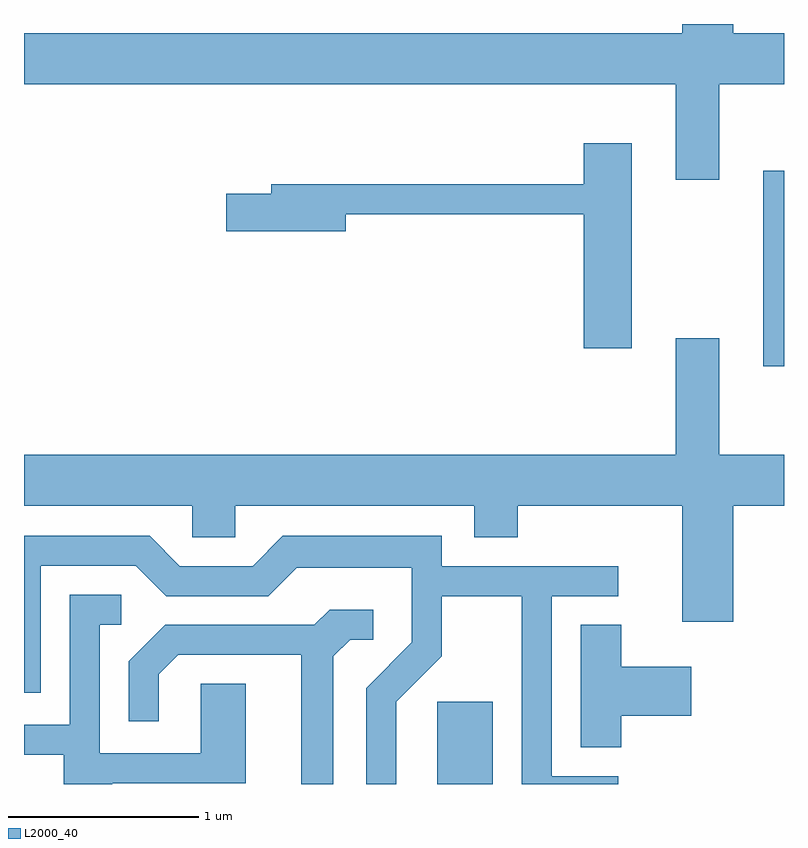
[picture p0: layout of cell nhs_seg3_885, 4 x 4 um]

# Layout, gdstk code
import gdstk
lib = gdstk.Library(unit=1e-6, precision=1e-09)
def R(c, l, rs):  # rectangles x0, y0, x1, y1
    for r in rs: c.add(gdstk.rectangle(r[:2], r[2:], *l))
def P(c, l, *ps):  # polygons
    for p in ps: c.add(gdstk.Polygon(p, *l))
L2000_40 = (2000, 40)

nhs_seg3_885 = lib.new_cell('nhs_seg3_885')
R(nhs_seg3_885, L2000_40, [(213.786,1117.892,214.079,1118.324), (215.501,1120.091,215.611,1121.119)])
P(nhs_seg3_885, L2000_40, [(215.269,1121.576),(215.611,1121.576),(215.611,1121.844),(215.344,1121.844),(215.344,1121.892),(215.076,1121.892),(215.076,1121.844),(211.611,1121.844),(211.611,1121.576),(215.041,1121.576),(215.041,1121.071),(215.269,1121.071)],
  [(214.809,1121.264),(214.556,1121.264),(214.556,1121.049),(212.911,1121.049),(212.911,1120.999),(212.676,1120.999),(212.676,1120.801),(213.304,1120.801),(213.304,1120.891),(214.556,1120.891),(214.556,1120.186),(214.809,1120.186)],
  [(215.344,1119.356),(215.611,1119.356),(215.611,1119.624),(215.269,1119.624),(215.269,1120.239),(215.041,1120.239),(215.041,1119.624),(211.611,1119.624),(211.611,1119.356),(212.496,1119.356),(212.496,1119.191),(212.724,1119.191),(212.724,1119.356),(213.981,1119.356),(213.981,1119.191),(214.209,1119.191),(214.209,1119.356),(215.076,1119.356),(215.076,1118.746),(215.344,1118.746)],
  [(213.569,1118.324),(213.809,1118.564),(213.809,1118.881),(214.231,1118.881),(214.231,1117.892),(214.738,1117.892),(214.738,1117.934),(214.389,1117.934),(214.389,1118.881),(214.738,1118.881),(214.738,1119.039),(213.809,1119.039),(213.809,1119.199),(212.974,1119.199),(212.814,1119.039),(212.432,1119.039),(212.272,1119.199),(211.611,1119.199),(211.611,1118.371),(211.699,1118.371),(211.699,1119.041),(212.199,1119.041),(212.359,1118.881),(212.897,1118.881),(213.047,1119.031),(213.651,1119.031),(213.651,1118.637),(213.411,1118.397),(213.411,1117.892),(213.569,1117.892)],
  [(212.075,1117.896),(212.779,1117.896),(212.779,1118.419),(212.541,1118.419),(212.541,1118.054),(212.009,1118.054),(212.009,1118.731),(212.123,1118.731),(212.123,1118.889),(211.851,1118.889),(211.851,1118.204),(211.611,1118.204),(211.611,1118.046),(211.821,1118.046),(211.821,1117.892),(212.075,1117.892)],
  [(213.239,1118.564),(213.327,1118.651),(213.448,1118.651),(213.448,1118.809),(213.219,1118.809),(213.139,1118.729),(212.354,1118.729),(212.161,1118.537),(212.161,1118.223),(212.319,1118.223),(212.319,1118.469),(212.422,1118.571),(213.071,1118.571),(213.071,1117.892),(213.239,1117.892)],
  [(214.754,1118.251),(215.124,1118.251),(215.124,1118.509),(214.754,1118.509),(214.754,1118.729),(214.541,1118.729),(214.541,1118.086),(214.754,1118.086)])

lib.write_gds('nhs_seg3_885.gds')
